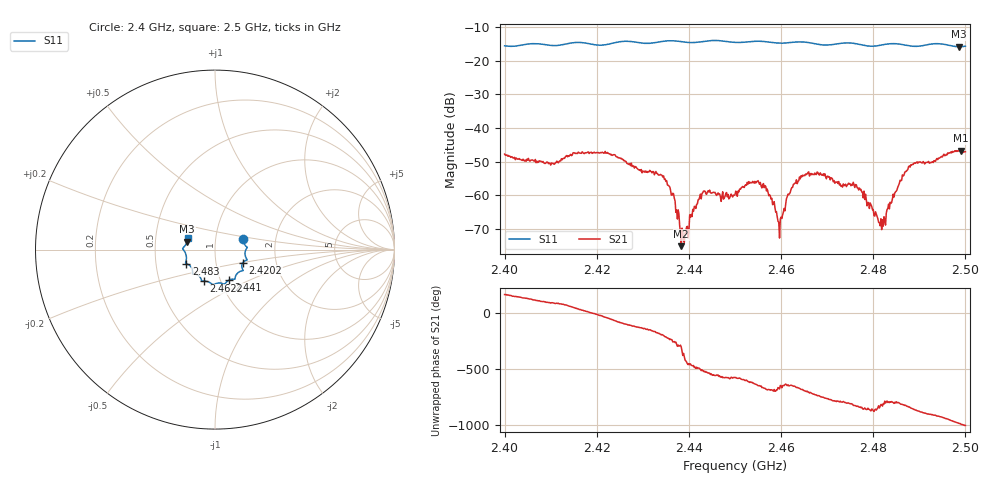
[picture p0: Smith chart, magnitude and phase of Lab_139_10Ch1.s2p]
# Hz S RI R 50
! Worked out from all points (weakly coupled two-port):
!   601 points, 2.4 GHz to 2.5 GHz, reference 50 ohm
!   highest |S21| = -46.76 dB at 2.499 GHz (marker M1); lowest = -75.2 dB at 2.4383 GHz (marker M2)
!   lowest |S11| = -15.8 dB at 2.4987 GHz (marker M3), VSWR 1.39, Z = 36.4 + j3.33 ohm
!   |S11| at or under -10 dB: start of sweep to end of sweep
!   S12 and S22 are empty: the file has one direction only
!   S11 on the Smith chart (normalised r, x): 2.4 GHz: 1.36, +0.17; 2.4202 GHz: 1.35, -0.20; 2.441 GHz: 1.09, -0.39; 2.4622 GHz: 0.83, -0.30; 2.483 GHz: 0.72, -0.12; 2.5 GHz: 0.73, +0.09
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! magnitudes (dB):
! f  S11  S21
! 2.4 GHz  -15.5  -47.8
! 2.4167 GHz  -14.6  -47.6
! 2.4202 GHz  -15.3  -47.4
! 2.4333 GHz  -14.4  -54.0
! 2.4363 GHz  -14.0  -60.0
! 2.4383 GHz  -14.3  -75.2
! 2.4393 GHz  -14.5  -70.5
! 2.441 GHz  -14.6  -64.8
! 2.4433 GHz  -14.2  -58.8
! 2.45 GHz  -14.5  -59.9
! 2.4552 GHz  -14.2  -56.2
! 2.4597 GHz  -14.8  -72.8
! 2.4622 GHz  -14.5  -58.3
! 2.4667 GHz  -14.7  -53.9
! 2.4762 GHz  -14.9  -56.9
! 2.4817 GHz  -15.3  -67.1
! 2.483 GHz  -15.0  -64.3
! 2.4833 GHz  -15.0  -62.7
! 2.4882 GHz  -15.6  -50.9
! 2.4987 GHz  -15.8  -46.8
! 2.499 GHz  -15.8  -46.8
! 2.5 GHz  -15.6  -47.1
